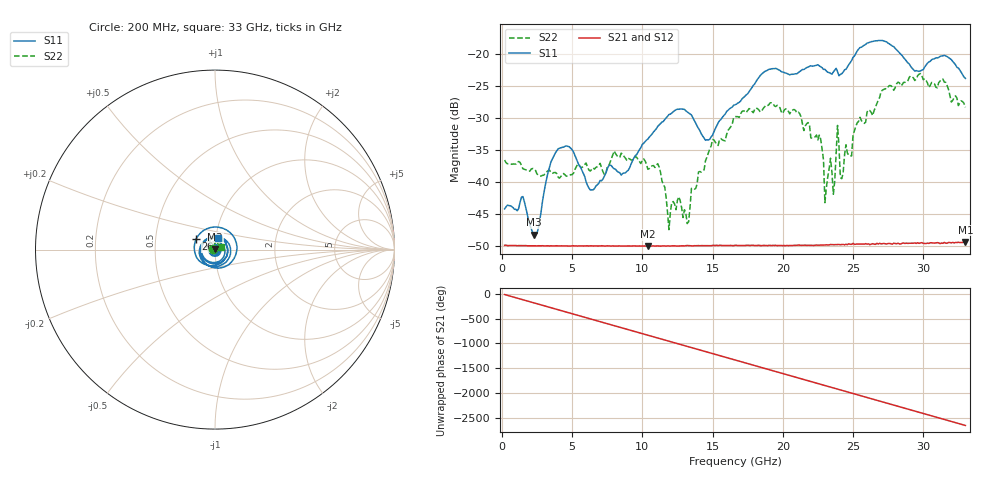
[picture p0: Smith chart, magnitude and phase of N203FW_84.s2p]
# GHZ S RI R 50
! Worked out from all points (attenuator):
!   329 points, 200 MHz to 33 GHz, reference 50 ohm
!   highest |S21| = -49.44 dB at 33 GHz (marker M1); lowest = -50.1 dB at 10.4 GHz (marker M2)
!   lowest |S11| = -48.3 dB at 2.3 GHz (marker M3), VSWR 1.01, Z = 50.1 + j0.357 ohm
!   |S11| at or under -10 dB: start of sweep to end of sweep
!   |S22| runs from -47.5 to -23.1 dB; largest |S21 - S12| = 8.8e-05
!   S11 on the Smith chart (normalised r, x): 200 MHz: 1.01, +0.00; 26 GHz: 0.80, +0.09; 33 GHz: 1.02, +0.13
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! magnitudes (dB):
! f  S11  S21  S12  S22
! 200 MHz  -44.3  -50.0  -49.9  -36.6
! 1.5 GHz  -42.3  -50.0  -50.0  -38.0
! 2.3 GHz  -48.3  -50.0  -50.0  -38.0
! 4 GHz  -34.9  -50.0  -50.0  -39.3
! 5.7 GHz  -38.2  -50.0  -50.0  -37.8
! 10.4 GHz  -33.3  -50.1  -50.1  -38.1
! 11.2 GHz  -31.1  -50.1  -50.0  -37.7
! 11.9 GHz  -29.5  -50.1  -50.0  -47.5
! 12.6 GHz  -28.7  -50.1  -50.0  -42.4
! 13.2 GHz  -29.1  -50.0  -50.0  -46.6
! 14.7 GHz  -33.5  -50.0  -50.0  -35.5
! 16.6 GHz  -28.0  -49.9  -50.0  -29.8
! 22.1 GHz  -22.0  -49.9  -49.9  -33.2
! 22.7 GHz  -22.0  -49.9  -49.9  -33.4
! 23 GHz  -22.4  -49.9  -49.9  -43.3
! 23.4 GHz  -23.1  -49.8  -49.8  -36.3
! 23.6 GHz  -22.8  -49.9  -49.8  -42.0
! 23.9 GHz  -22.8  -49.8  -49.8  -31.2
! 24.2 GHz  -23.1  -49.8  -49.8  -39.5
! 26 GHz  -18.3  -49.8  -49.7  -29.1
! 27.6 GHz  -18.5  -49.7  -49.7  -25.0
! 33 GHz  -23.9  -49.4  -49.5  -28.4
